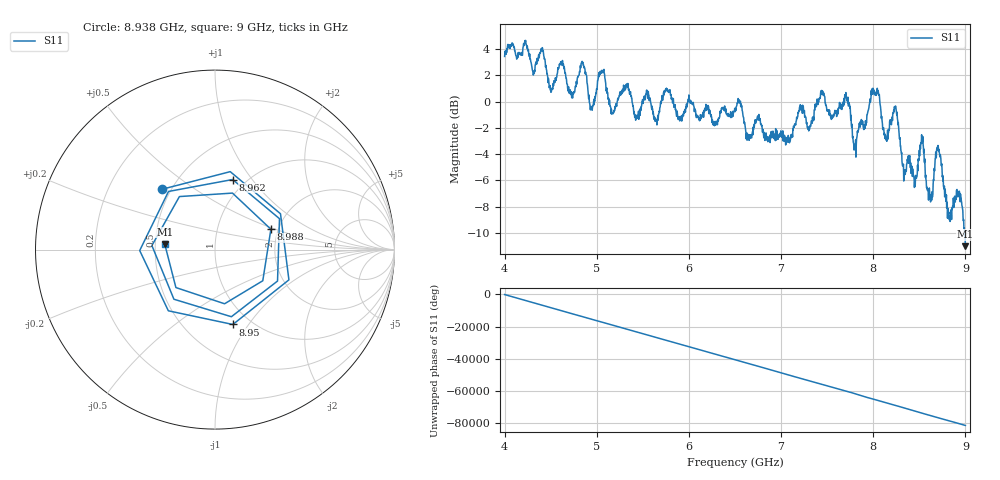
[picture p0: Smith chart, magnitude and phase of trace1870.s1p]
! Created with skrf 1.8.0 (http://scikit-rf.org).
# Hz S RI R 50.0
!freq ReS11 ImS11
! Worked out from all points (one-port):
!   1601 points, 4 GHz to 9 GHz, reference 50 ohm
!   lowest |S11| = -11.0 dB at 9 GHz (marker M1), VSWR 1.79, Z = 28.1 + j1.91 ohm
!   |S11| at or under -10 dB: 8.991411 GHz to end of sweep
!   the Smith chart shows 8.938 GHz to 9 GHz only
!   S11 on the Smith chart (normalised r, x): 8.938 GHz: 0.45, +0.38; 8.95 GHz: 0.83, -0.85; 8.962 GHz: 0.87, +0.81; 8.988 GHz: 1.83, +0.47; 9 GHz: 0.56, +0.04
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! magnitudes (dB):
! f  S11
! 4 GHz  3.4
! 4.403 GHz  3.9
! 4.506 GHz  0.8
! 4.625 GHz  2.8
! 4.731 GHz  0.5
! 4.853 GHz  2.8
! 4.944 GHz  -0.4
! 5.053 GHz  2.4
! 5.169 GHz  -0.9
! 5.25 GHz  0.7
! 5.875 GHz  -0.9
! 6.5 GHz  -0.8
! 7.125 GHz  -2.7
! 7.447 GHz  0.6
! 7.75 GHz  -0.4
! 7.8 GHz  -3.5
! 8.041 GHz  0.7
! 8.375 GHz  -4.4
! 8.459 GHz  -5.6
! 8.525 GHz  -2.5
! 8.622 GHz  -7.6
! 8.703 GHz  -3.3
! 8.825 GHz  -9.0
! 8.938 GHz  -7.0
! 8.95 GHz  -7.4
! 8.962 GHz  -7.9
! 8.988 GHz  -9.6
! 9 GHz  -11.0
